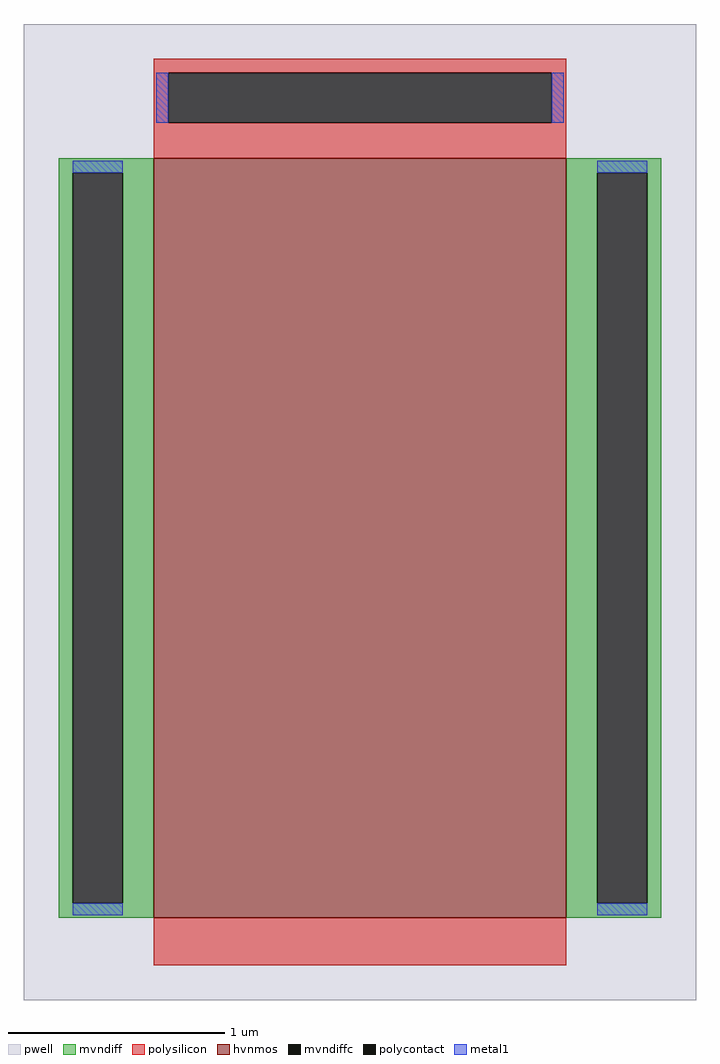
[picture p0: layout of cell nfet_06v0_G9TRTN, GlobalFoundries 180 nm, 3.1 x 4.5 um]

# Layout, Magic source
magic
tech gf180mcuD
magscale 1 10
<< pwell >>
rect -310 -450 310 450
<< hvnmos >>
rect -190 -374 190 326
<< mvndiff >>
rect -278 313 -190 326
rect -278 -361 -265 313
rect -219 -361 -190 313
rect -278 -374 -190 -361
rect 190 313 278 326
rect 190 -361 219 313
rect 265 -361 278 313
rect 190 -374 278 -361
<< mvndiffc >>
rect -265 -361 -219 313
rect 219 -361 265 313
<< polysilicon >>
rect -190 405 190 418
rect -190 359 -177 405
rect 177 359 190 405
rect -190 326 190 359
rect -190 -418 190 -374
<< polycontact >>
rect -177 359 177 405
<< metal1 >>
rect -188 359 -177 405
rect 177 359 188 405
rect -265 313 -219 324
rect -265 -372 -219 -361
rect 219 313 265 324
rect 219 -372 265 -361
<< properties >>
string gencell nfet_06v0
string library gf180mcu
string parameters w 3.5 l 1.9 m 1 nf 1 diffcov 100 polycov 100 guard 0 glc 0 grc 0 gtc 0 gbc 0 tbcov 100 rlcov 100 topc 1 botc 0 poverlap 0 doverlap 1 lmin 0.7 wmin 0.3 class mosfet full_metal 0 compatible {nfet_03v3 nfet_05v0 nfet_06v0 nfet_06v0_nvt}
<< end >>
